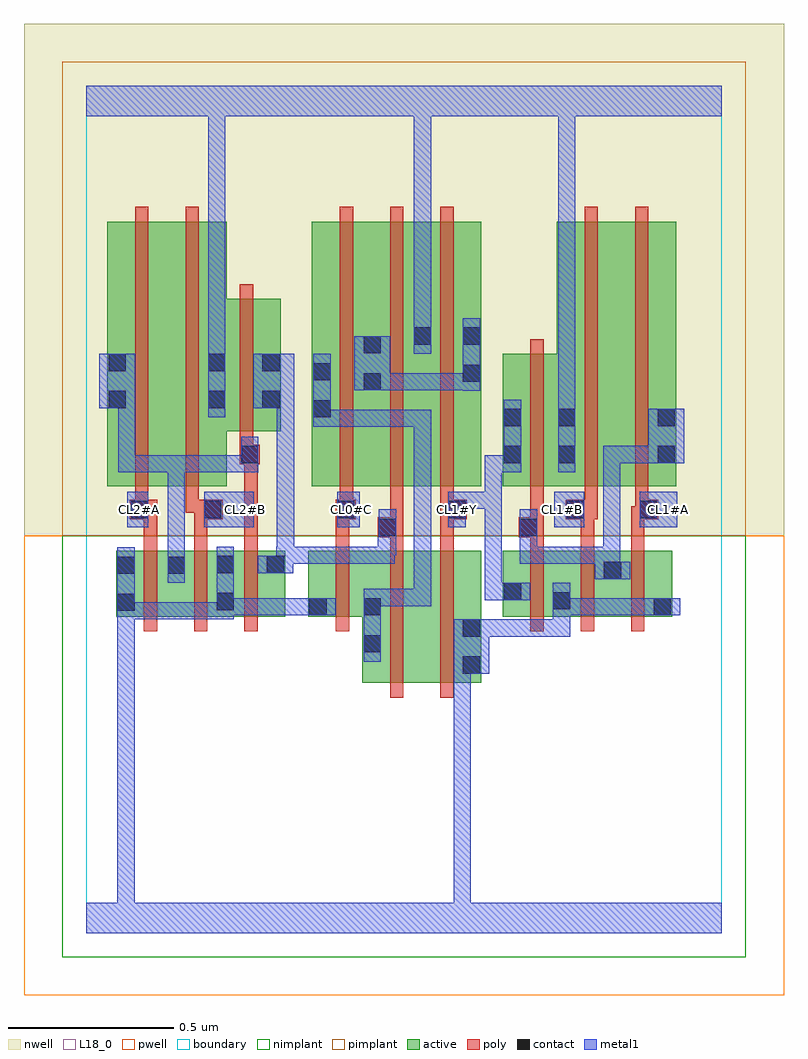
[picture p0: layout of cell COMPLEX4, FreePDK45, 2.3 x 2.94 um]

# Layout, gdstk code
import gdstk
lib = gdstk.Library(unit=1e-6, precision=1e-09)
def R(c, l, rs):  # rectangles x0, y0, x1, y1
    for r in rs: c.add(gdstk.rectangle(r[:2], r[2:], *l))
def A(c, l, x, y, w, h, nx, ny, dx, dy):  # array of equal rectangles
    R(c, l, [(x+i*dx, y+j*dy, x+i*dx+w, y+j*dy+h) for i in range(nx) for j in range(ny)])
active = (1, 0)
pwell = (2, 0)
nwell = (3, 0)
nimplant = (4, 0)
pimplant = (5, 0)
poly = (9, 0)
contact = (10, 0)
metal1 = (11, 0)
L18_0 = (18, 0)
boundary = (235, 0)

complex4 = lib.new_cell('COMPLEX4')
R(complex4, active, [(0.834,0.756,1.014,1.156), (1.014,0.756,1.194,1.156), (1.134,0.756,1.194,1.156), (0.834,0.844,0.894,1.016), (0.09,0.956,0.15,1.156), (0.09,0.956,0.302,1.156), (0.242,0.956,0.45,1.156), (0.242,0.956,0.302,1.142), (0.39,0.956,0.602,1.156), (0.39,0.956,0.45,1.144), (0.542,0.956,0.602,1.156), (0.67,0.956,0.73,1.156), (0.67,0.956,0.894,1.156), (1.258,0.956,1.318,1.156), (1.258,0.956,1.466,1.156), (1.406,0.956,1.466,1.156), (1.406,0.956,1.62,1.156), (1.56,0.956,1.77,1.156), (1.56,0.956,1.62,1.126), (1.71,0.956,1.77,1.156), (0.064,1.35,0.124,2.044), (0.064,1.35,0.244,2.15), (0.244,1.35,0.424,2.15), (0.682,1.35,0.742,2.044), (0.682,1.35,0.894,2.15), (0.834,1.35,1.046,2.15), (0.986,1.35,1.194,2.15), (1.134,1.35,1.194,2.132), (1.258,1.35,1.482,1.75), (1.258,1.35,1.318,1.644), (1.422,1.35,1.602,2.15), (1.422,1.35,1.482,1.734), (1.602,1.35,1.782,2.15), (1.722,1.35,1.782,2.044), (0.834,1.498,0.894,2.132), (0.364,1.516,0.588,1.916), (0.528,1.516,0.588,1.916), (0.364,1.572,0.424,1.754), (0.986,1.65,1.046,2.15)])
R(complex4, pwell, [(-0.188,-0.188,2.108,1.2)])
R(complex4, nwell, [(-0.188,1.2,2.108,2.748)])
R(complex4, nimplant, [(-0.072,-0.072,1.992,1.2)])
R(complex4, pimplant, [(-0.072,1.2,1.992,2.632)])
A(complex4, poly, 0.174, 0.912, 0.04, 0.288, 3, 1, 0.152, 0)
A(complex4, poly, 1.342, 0.912, 0.04, 0.288, 3, 1, 0.152, 0)
A(complex4, poly, 0.766, 1.306, 0.04, 0.888, 3, 1, 0.152, 0)
R(complex4, poly, [(0.918,0.712,0.958,1.2), (1.07,0.712,1.11,1.2), (0.754,0.912,0.794,1.2), (0.174,1.16,0.214,1.29), (0.326,1.16,0.366,1.29), (0.478,1.16,0.518,1.456), (0.754,1.16,0.794,1.29), (0.918,1.16,0.958,1.236), (1.07,1.16,1.11,1.29), (1.342,1.16,1.382,1.236), (1.494,1.16,1.534,1.29), (1.646,1.16,1.686,1.29), (0.88,1.196,0.958,1.256), (1.306,1.196,1.382,1.256), (0.918,1.216,0.958,1.256), (0.918,1.216,0.958,1.256), (0.918,1.216,0.958,1.346), (1.342,1.216,1.382,1.256), (1.342,1.216,1.382,1.256), (1.342,1.216,1.382,1.346), (0.132,1.25,0.214,1.31), (0.326,1.25,0.412,1.31), (0.754,1.25,0.794,1.29), (0.754,1.25,0.794,1.29), (0.754,1.25,0.814,1.31), (1.07,1.25,1.15,1.31), (1.448,1.25,1.546,1.31), (1.494,1.25,1.534,1.29), (1.494,1.25,1.534,1.29), (1.646,1.25,1.698,1.29), (1.658,1.25,1.698,1.29), (1.658,1.25,1.728,1.31), (0.148,1.27,0.188,1.346), (0.148,1.27,0.188,1.31), (0.148,1.27,0.188,1.31), (0.3,1.27,0.34,1.346), (0.3,1.27,0.366,1.31), (0.326,1.27,0.366,1.31), (0.766,1.27,0.806,1.346), (1.07,1.27,1.11,1.346), (1.07,1.27,1.11,1.31), (1.07,1.27,1.11,1.31), (1.506,1.27,1.546,1.346), (1.658,1.27,1.698,1.346), (0.148,1.306,0.188,2.194), (0.3,1.306,0.34,2.194), (1.342,1.306,1.382,1.794), (1.506,1.306,1.546,2.194), (1.658,1.306,1.698,2.194), (0.464,1.416,0.524,1.476), (0.478,1.416,0.518,1.456), (0.478,1.416,0.518,1.456), (0.464,1.436,0.504,1.512), (0.464,1.472,0.504,1.96)])
R(complex4, contact, [(1.138,0.784,1.19,0.836), (0.838,0.848,0.89,0.9), (1.138,0.896,1.19,0.948), (0.674,0.96,0.726,1.012), (0.838,0.96,0.89,1.012), (1.714,0.96,1.766,1.012), (0.094,0.974,0.146,1.026), (0.394,0.976,0.446,1.028), (1.41,0.978,1.462,1.03), (1.262,1.006,1.314,1.058), (1.564,1.07,1.616,1.122), (0.094,1.086,0.146,1.138), (0.246,1.086,0.298,1.138), (0.394,1.088,0.446,1.14), (0.546,1.088,0.598,1.14), (0.884,1.2,0.936,1.252), (1.31,1.2,1.362,1.252), (0.136,1.254,0.188,1.306), (0.356,1.254,0.408,1.306), (0.758,1.254,0.81,1.306), (1.094,1.254,1.146,1.306), (1.452,1.254,1.504,1.306), (1.672,1.254,1.724,1.306), (0.468,1.42,0.52,1.472), (1.262,1.42,1.314,1.472), (1.426,1.42,1.478,1.472), (1.726,1.42,1.778,1.472), (1.262,1.532,1.314,1.584), (1.426,1.532,1.478,1.584), (1.726,1.532,1.778,1.584), (0.686,1.558,0.738,1.61), (0.068,1.586,0.12,1.638), (0.368,1.586,0.42,1.638), (0.532,1.586,0.584,1.638), (0.838,1.64,0.89,1.692), (1.138,1.666,1.19,1.718), (0.686,1.67,0.738,1.722), (0.068,1.698,0.12,1.75), (0.368,1.698,0.42,1.75), (0.532,1.698,0.584,1.75), (0.838,1.752,0.89,1.804), (0.99,1.778,1.042,1.83), (1.138,1.778,1.19,1.83)])
R(complex4, metal1, [(0,0,1.92,0.092), (0.094,0.04,0.146,0.092), (0.094,0.04,0.146,0.092), (0.094,0.04,0.146,0.092), (0.094,0.04,0.146,0.092), (0.094,0.04,0.146,0.092), (0.094,0.04,0.146,0.092), (0.094,0.04,0.146,0.092), (0.094,0.04,0.146,0.092), (0.094,0.04,0.146,0.092), (0.094,0.04,0.146,0.092), (0.094,0.04,0.146,0.092), (0.094,0.04,0.146,0.092), (0.094,0.04,0.146,0.092), (0.094,0.04,0.146,0.092), (0.094,0.04,0.146,0.092), (0.094,0.04,0.146,0.092), (0.094,0.04,0.146,0.998), (1.11,0.04,1.162,0.092), (1.11,0.04,1.162,0.092), (1.11,0.04,1.162,0.092), (1.11,0.04,1.162,0.092), (1.11,0.04,1.162,0.092), (1.11,0.04,1.162,0.092), (1.11,0.04,1.162,0.092), (1.11,0.04,1.162,0.092), (1.11,0.04,1.162,0.092), (1.11,0.04,1.162,0.092), (1.11,0.04,1.162,0.092), (1.11,0.04,1.162,0.092), (1.11,0.04,1.162,0.836), (1.11,0.784,1.218,0.948), (0.838,0.82,0.89,1.04), (1.166,0.896,1.352,0.948), (1.3,0.896,1.352,0.948), (1.3,0.896,1.352,0.948), (1.3,0.896,1.352,0.948), (1.3,0.896,1.462,0.948), (1.41,0.896,1.462,0.948), (1.41,0.896,1.462,1.002), (0.094,0.946,0.146,1.166), (0.094,0.948,0.146,1), (0.094,0.948,0.146,1), (0.094,0.948,0.31,1), (0.258,0.948,0.31,1), (0.258,0.948,0.31,1), (0.258,0.948,0.31,1), (0.258,0.948,0.446,1), (0.394,0.948,0.446,1.168), (1.41,0.95,1.462,1.002), (1.41,0.95,1.462,1.002), (1.41,0.95,1.462,1.058), (0.394,0.96,0.556,1.012), (0.504,0.96,0.556,1.012), (0.504,0.96,0.556,1.012), (0.504,0.96,0.556,1.012), (0.504,0.96,0.698,1.012), (0.646,0.96,0.754,1.012), (1.41,0.96,1.614,1.012), (1.562,0.96,1.614,1.012), (1.562,0.96,1.614,1.012), (1.562,0.96,1.614,1.012), (1.562,0.96,1.738,1.012), (1.686,0.96,1.738,1.012), (1.686,0.96,1.738,1.012), (1.686,0.96,1.794,1.012), (0.838,0.988,0.936,1.04), (0.884,0.988,0.936,1.04), (0.884,0.988,1.042,1.04), (0.99,0.988,1.042,1.04), (0.99,0.988,1.042,1.582), (1.204,1.006,1.256,1.334), (1.204,1.006,1.342,1.058), (0.246,1.058,0.298,1.166), (1.536,1.07,1.644,1.122), (1.562,1.07,1.614,1.168), (0.518,1.088,0.626,1.14), (0.574,1.088,0.626,1.168), (0.246,1.114,0.298,1.444), (0.574,1.116,0.628,1.168), (0.576,1.116,0.628,1.168), (0.576,1.116,0.628,1.168), (0.576,1.116,0.752,1.168), (0.576,1.116,0.628,1.638), (0.7,1.116,0.752,1.168), (0.7,1.116,0.752,1.168), (0.7,1.116,0.752,1.168), (0.7,1.116,0.932,1.168), (0.88,1.116,0.932,1.194), (1.31,1.116,1.478,1.168), (1.31,1.116,1.362,1.28), (1.426,1.116,1.478,1.168), (1.426,1.116,1.478,1.168), (1.426,1.116,1.478,1.168), (1.426,1.116,1.614,1.168), (1.562,1.116,1.614,1.168), (1.562,1.116,1.614,1.472), (0.88,1.142,0.936,1.194), (0.884,1.142,0.936,1.28), (0.124,1.226,0.188,1.334), (0.356,1.226,0.506,1.334), (0.758,1.226,0.826,1.334), (1.094,1.226,1.146,1.334), (1.414,1.226,1.504,1.334), (1.672,1.226,1.786,1.334), (1.094,1.282,1.242,1.334), (1.19,1.282,1.242,1.334), (1.19,1.282,1.256,1.334), (1.204,1.282,1.256,1.334), (1.204,1.282,1.256,1.444), (0.096,1.392,0.148,1.444), (0.096,1.392,0.148,1.444), (0.096,1.392,0.148,1.444), (0.096,1.392,0.298,1.444), (0.096,1.392,0.148,1.638), (0.246,1.392,0.298,1.444), (0.246,1.392,0.298,1.444), (0.246,1.392,0.298,1.444), (0.246,1.392,0.298,1.444), (0.246,1.392,0.298,1.444), (0.246,1.392,0.42,1.444), (0.368,1.392,0.42,1.444), (0.368,1.392,0.52,1.444), (0.468,1.392,0.52,1.5), (1.204,1.392,1.314,1.444), (1.262,1.392,1.314,1.444), (1.262,1.392,1.314,1.612), (1.426,1.392,1.478,1.612), (1.562,1.42,1.614,1.472), (1.562,1.42,1.614,1.472), (1.562,1.42,1.614,1.472), (1.562,1.42,1.75,1.472), (1.698,1.42,1.75,1.472), (1.698,1.42,1.75,1.472), (1.698,1.42,1.806,1.584), (0.686,1.53,0.738,1.582), (0.686,1.53,0.738,1.582), (0.686,1.53,0.738,1.75), (0.686,1.53,0.932,1.582), (0.88,1.53,0.932,1.582), (0.88,1.53,0.932,1.582), (0.88,1.53,0.932,1.582), (0.88,1.53,0.936,1.582), (0.884,1.53,0.936,1.582), (0.884,1.53,1.042,1.582), (0.99,1.53,1.042,1.582), (0.99,1.53,1.042,1.582), (0.99,1.53,1.042,1.582), (0.368,1.558,0.42,1.778), (1.426,1.56,1.478,1.612), (1.426,1.56,1.478,1.612), (1.426,1.56,1.478,1.612), (1.426,1.56,1.478,1.612), (1.426,1.56,1.478,1.612), (1.426,1.56,1.478,1.612), (1.426,1.56,1.478,1.612), (1.426,1.56,1.478,1.612), (1.426,1.56,1.478,2.52), (0.04,1.586,0.148,1.75), (0.504,1.586,0.628,1.75), (1.138,1.638,1.19,1.858), (0.81,1.64,0.918,1.804), (0.866,1.64,0.936,1.692), (0.884,1.64,0.936,1.692), (0.884,1.64,1.052,1.692), (1,1.64,1.052,1.692), (1,1.64,1.052,1.692), (1,1.64,1.052,1.692), (1,1.64,1.052,1.692), (1,1.64,1.052,1.692), (1,1.64,1.19,1.692), (0.368,1.726,0.42,1.778), (0.368,1.726,0.42,1.778), (0.368,1.726,0.42,2.52), (0.99,1.75,1.042,1.858), (0.99,1.806,1.042,1.858), (0.99,1.806,1.042,1.858), (0.99,1.806,1.042,1.858), (0.99,1.806,1.042,1.858), (0.99,1.806,1.042,1.858), (0.99,1.806,1.042,1.858), (0.99,1.806,1.042,1.858), (0.99,1.806,1.042,1.858), (0.99,1.806,1.042,2.52), (0,2.468,1.92,2.56), (0.368,2.468,0.42,2.52), (0.368,2.468,0.42,2.52), (0.368,2.468,0.42,2.52), (0.368,2.468,0.42,2.52), (0.368,2.468,0.42,2.52), (0.368,2.468,0.42,2.52)])
A(complex4, L18_0, 0.134, 1.254, 0.052, 0.052, 6, 1, 0.32, 0)
R(complex4, L18_0, [(0,0,1.92,0.092), (0.094,0.04,0.146,0.092), (0.094,0.04,0.146,0.092), (0.094,0.04,0.146,0.092), (0.094,0.04,0.146,0.092), (0.094,0.04,0.146,0.092), (0.094,0.04,0.146,0.092), (0.094,0.04,0.146,0.092), (0.094,0.04,0.146,0.092), (0.094,0.04,0.146,0.092), (0.094,0.04,0.146,0.092), (0.094,0.04,0.146,0.092), (0.094,0.04,0.146,0.092), (0.094,0.04,0.146,0.092), (0.094,0.04,0.146,0.092), (0.094,0.04,0.146,0.092), (0.094,0.04,0.146,0.092), (0.094,0.04,0.146,0.998), (1.11,0.04,1.162,0.092), (1.11,0.04,1.162,0.092), (1.11,0.04,1.162,0.092), (1.11,0.04,1.162,0.092), (1.11,0.04,1.162,0.092), (1.11,0.04,1.162,0.092), (1.11,0.04,1.162,0.092), (1.11,0.04,1.162,0.092), (1.11,0.04,1.162,0.092), (1.11,0.04,1.162,0.092), (1.11,0.04,1.162,0.092), (1.11,0.04,1.162,0.092), (1.11,0.04,1.162,0.836), (1.11,0.784,1.218,0.948), (1.166,0.896,1.352,0.948), (1.3,0.896,1.352,0.948), (1.3,0.896,1.352,0.948), (1.3,0.896,1.352,0.948), (1.3,0.896,1.462,0.948), (1.41,0.896,1.462,0.948), (1.41,0.896,1.462,1.002), (0.094,0.946,0.146,1.166), (0.094,0.948,0.146,1), (0.094,0.948,0.146,1), (0.094,0.948,0.31,1), (0.258,0.948,0.31,1), (0.258,0.948,0.31,1), (0.258,0.948,0.31,1), (0.258,0.948,0.446,1), (0.394,0.948,0.446,1.168), (1.41,0.95,1.462,1.002), (1.41,0.95,1.462,1.002), (1.41,0.95,1.462,1.058), (0.394,0.96,0.556,1.012), (0.504,0.96,0.556,1.012), (0.504,0.96,0.556,1.012), (0.504,0.96,0.556,1.012), (0.504,0.96,0.698,1.012), (0.646,0.96,0.754,1.012), (1.41,0.96,1.614,1.012), (1.562,0.96,1.614,1.012), (1.562,0.96,1.614,1.012), (1.562,0.96,1.614,1.012), (1.562,0.96,1.738,1.012), (1.686,0.96,1.738,1.012), (1.686,0.96,1.738,1.012), (1.686,0.96,1.794,1.012), (1.204,1.006,1.342,1.058), (1.204,1.006,1.256,1.334), (0.124,1.226,0.188,1.334), (0.356,1.226,0.506,1.334), (0.758,1.226,0.826,1.334), (1.094,1.226,1.146,1.334), (1.414,1.226,1.504,1.334), (1.672,1.226,1.786,1.334), (1.094,1.282,1.242,1.334), (1.19,1.282,1.242,1.334), (1.19,1.282,1.256,1.334), (1.204,1.282,1.256,1.334), (1.204,1.282,1.256,1.444), (1.204,1.392,1.314,1.444), (1.262,1.392,1.314,1.444), (1.262,1.392,1.314,1.612), (1.426,1.392,1.478,1.612), (0.368,1.558,0.42,1.778), (1.426,1.56,1.478,1.612), (1.426,1.56,1.478,1.612), (1.426,1.56,1.478,1.612), (1.426,1.56,1.478,1.612), (1.426,1.56,1.478,1.612), (1.426,1.56,1.478,1.612), (1.426,1.56,1.478,1.612), (1.426,1.56,1.478,1.612), (1.426,1.56,1.478,2.52), (0.368,1.726,0.42,1.778), (0.368,1.726,0.42,1.778), (0.368,1.726,0.42,2.52), (0.99,1.75,1.042,1.858), (0.99,1.806,1.042,1.858), (0.99,1.806,1.042,1.858), (0.99,1.806,1.042,1.858), (0.99,1.806,1.042,1.858), (0.99,1.806,1.042,1.858), (0.99,1.806,1.042,1.858), (0.99,1.806,1.042,1.858), (0.99,1.806,1.042,1.858), (0.99,1.806,1.042,2.52), (0,2.468,1.92,2.56), (0.368,2.468,0.42,2.52), (0.368,2.468,0.42,2.52), (0.368,2.468,0.42,2.52), (0.368,2.468,0.42,2.52), (0.368,2.468,0.42,2.52), (0.368,2.468,0.42,2.52)])
R(complex4, boundary, [(0,0,1.92,2.56)])
complex4.add(gdstk.Label('CL0#C', (0.8,1.28), layer=11, texttype=0))
complex4.add(gdstk.Label('CL1#A', (1.76,1.28), layer=11, texttype=0))
complex4.add(gdstk.Label('CL1#B', (1.44,1.28), layer=11, texttype=0))
complex4.add(gdstk.Label('CL1#Y', (1.12,1.28), layer=11, texttype=0))
complex4.add(gdstk.Label('CL2#A', (0.16,1.28), layer=11, texttype=0))
complex4.add(gdstk.Label('CL2#B', (0.48,1.28), layer=11, texttype=0))

lib.write_gds('COMPLEX4.gds')
